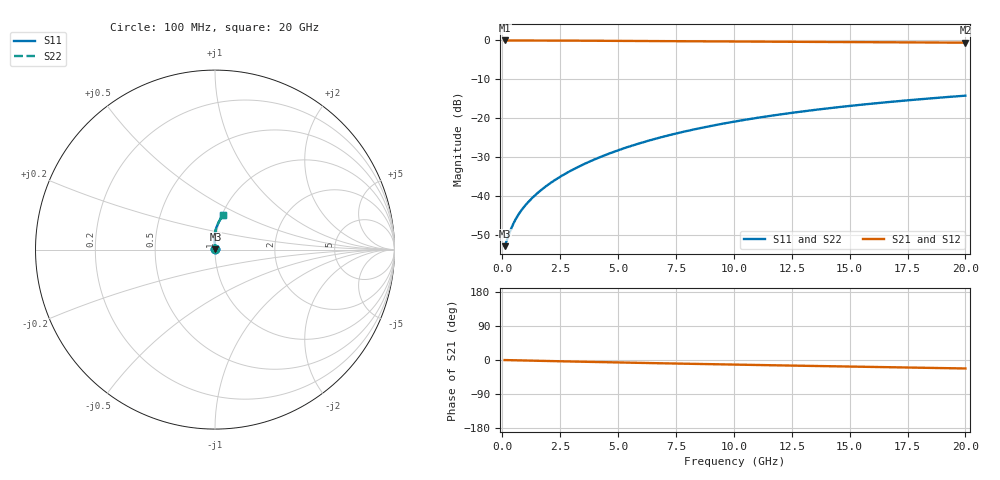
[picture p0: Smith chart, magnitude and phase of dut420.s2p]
! Touchstone file exported from HFSS 2024.1.0
!  File:  C:/UserFiles/LocalFiles/RDL_TSV_Batchsim/temp_RDL_bottom_420_1779683728.aedt
!  Generated:  12:38:07 PM May 25, 2026
!  Design:  RDL_bottom
!  Project:  temp_RDL_bottom_420_1779683728
!  Setup:  Setup1
!  Solution:  Sweep
! Variables:
!  dtsv = 10.80580581um
!  hbump = 3um
!  htsv = 60.57um
!  ldown = 316.65um
!  lrdl = 100um
!  p = 40
!  p1 = 48.12um
!  rhole = 1um
!  t = 450um
!  tdown = 2.24um
!  trdl = 3.915915916um
!  wdown = 29.27um
!  wrdl = 20um
# GHz S MA R 50.000000
! Terminal data exported
! Port[1] = RDL1_T1
! Port[2] = RDL1_T2
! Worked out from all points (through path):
!   200 points, 100 MHz to 20 GHz, reference 50 ohm
!   highest |S21| = -0.02 dB at 100 MHz (marker M1); lowest = -0.6 dB at 20 GHz (marker M2)
!   group delay of S21, straight-line fit = 3.06 ps
!   lowest |S11| = -52.8 dB at 100 MHz (marker M3), VSWR 1.00, Z = 50.2 + j0.0844 ohm
!   |S11| at or under -10 dB: start of sweep to end of sweep
!   |S22| runs from -52.8 to -14.2 dB; largest |S21 - S12| = 5.6e-15
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0.1  0.002293 21.5  0.9979 -0.1  0.9979 -0.1  0.002293 21.5
! Gamma 0 0 0 0
! Port Impedance 50 0 50 0
0.3  0.003332 47.2  0.9976 -0.4  0.9976 -0.4  0.003333 47.1
0.4  0.003961 53.7  0.9975 -0.6  0.9975 -0.6  0.003962 53.6
0.5  0.004596 58.3  0.9973 -0.7  0.9973 -0.7  0.004596 58.2
0.6  0.005224 61.8  0.9972 -0.8  0.9972 -0.8  0.005224 61.7
0.7  0.005845 64.6  0.997 -1.0  0.997 -1.0  0.005844 64.5
0.9  0.007076 69.1  0.9967 -1.2  0.9967 -1.2  0.007074 69.0
1.2  0.008939 74.1  0.9963 -1.6  0.9963 -1.6  0.008937 74.1
1.7  0.01218 80.1  0.9954 -2.3  0.9954 -2.3  0.01218 80.0
2.2  0.01563 84.2  0.9944 -3.0  0.9944 -3.0  0.01563 84.1
2.8  0.02007 87.6  0.9929 -3.7  0.9929 -3.7  0.02007 87.6
3.5  0.02564 90.3  0.9909 -4.6  0.9909 -4.6  0.02564 90.3
4.2  0.03161 91.9  0.9886 -5.5  0.9886 -5.5  0.03161 91.9
5  0.03889 93.0  0.9858 -6.5  0.9858 -6.5  0.03889 93.0
5.9  0.04755 93.4  0.9825 -7.5  0.9825 -7.5  0.04755 93.4
6.8  0.05661 93.3  0.9791 -8.6  0.9791 -8.6  0.0566 93.3
8.4  0.07337 92.1  0.9731 -10.4  0.9731 -10.4  0.07336 92.1
10.1  0.09166 90.2  0.9669 -12.2  0.9669 -12.2  0.09164 90.2
11.7  0.109 88.1  0.9614 -13.9  0.9614 -13.9  0.109 88.1
13.4  0.1273 85.8  0.9557 -15.7  0.9557 -15.7  0.1273 85.8
16.7  0.162 81.3  0.9451 -19.1  0.9451 -19.1  0.162 81.3
20  0.1954 77.0  0.9347 -22.4  0.9347 -22.4  0.1954 76.9
